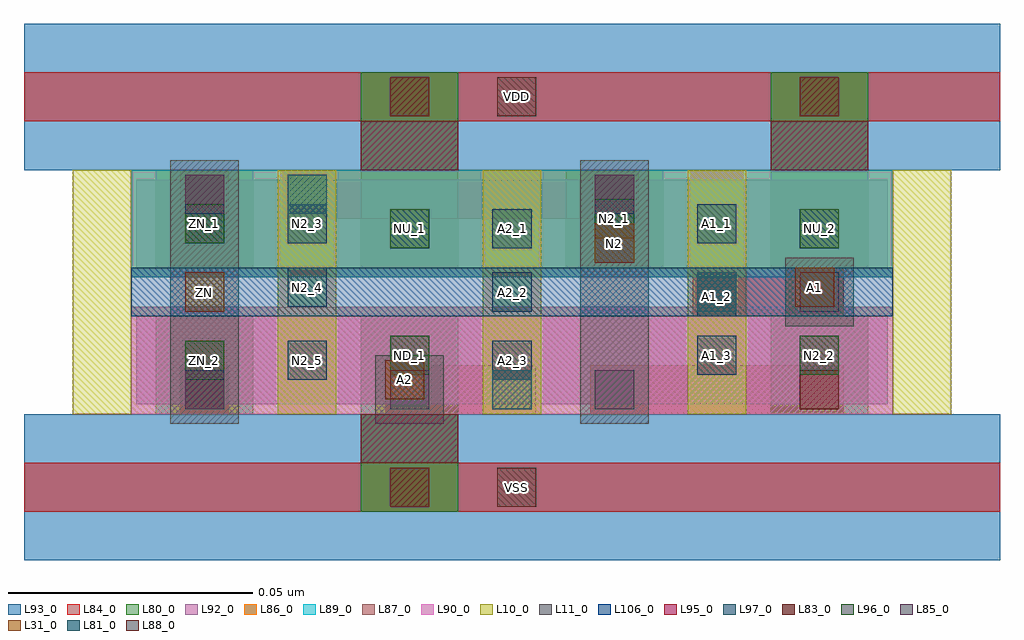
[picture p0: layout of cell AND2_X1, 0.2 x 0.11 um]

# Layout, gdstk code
import gdstk
lib = gdstk.Library(unit=1e-6, precision=1e-09)
def R(c, l, rs):  # rectangles x0, y0, x1, y1
    for r in rs: c.add(gdstk.rectangle(r[:2], r[2:], *l))
def A(c, l, x, y, w, h, nx, ny, dx, dy):  # array of equal rectangles
    R(c, l, [(x+i*dx, y+j*dy, x+i*dx+w, y+j*dy+h) for i in range(nx) for j in range(ny)])
L10_0 = (10, 0)
L11_0 = (11, 0)
L31_0 = (31, 0)
L80_0 = (80, 0)
L81_0 = (81, 0)
L83_0 = (83, 0)
L84_0 = (84, 0)
L85_0 = (85, 0)
L86_0 = (86, 0)
L87_0 = (87, 0)
L88_0 = (88, 0)
L89_0 = (89, 0)
L90_0 = (90, 0)
L92_0 = (92, 0)
L93_0 = (93, 0)
L95_0 = (95, 0)
L96_0 = (96, 0)
L97_0 = (97, 0)
L106_0 = (106, 0)

and2_x1 = lib.new_cell('AND2_X1')
A(and2_x1, L10_0, -0.027, 0.015, 0.012, 0.05, 5, 1, 0.042, 0)
R(and2_x1, L11_0, [(-0.007,0.013,0.007,0.047), (0.035,0.013,0.049,0.027), (0.077,0.013,0.091,0.047), (-0.007,0.033,0.007,0.067), (0.077,0.033,0.091,0.067), (0.119,0.033,0.133,0.047)])
R(and2_x1, L31_0, [(0.037,0.018,0.045,0.026), (-0.004,0.036,0.004,0.044), (0.121,0.037,0.129,0.045), (0.08,0.046,0.088,0.054)])
R(and2_x1, L80_0, [(0.032,-0.005,0.052,0.016), (-0.01,0.015,0.01,0.035), (0.032,0.015,0.052,0.035), (0.116,0.015,0.136,0.035), (-0.01,0.045,0.01,0.065), (-0.01,0.045,0.01,0.065), (0.032,0.045,0.052,0.065), (0.032,0.045,0.052,0.065), (0.074,0.045,0.094,0.065), (0.074,0.045,0.094,0.065), (0.116,0.045,0.136,0.065), (0.116,0.045,0.136,0.065), (0.032,0.056,0.052,0.085), (0.116,0.056,0.136,0.085)])
R(and2_x1, L81_0, [(0.059,0.016,0.067,0.024), (0.101,0.036,0.109,0.044), (0.017,0.056,0.025,0.064)])
R(and2_x1, L83_0, [(0.038,-0.004,0.046,0.004), (-0.004,0.016,0.004,0.024), (0.122,0.016,0.13,0.024), (-0.004,0.056,0.004,0.064), (-0.004,0.056,0.004,0.064), (0.08,0.056,0.088,0.064), (0.038,0.076,0.046,0.084), (0.122,0.076,0.13,0.084)])
A(and2_x1, L84_0, 0.016, 0.055, 0.031, 0.01, 3, 1, 0.021, 0)
R(and2_x1, L84_0, [(-0.037,-0.005,0.163,0.005), (-0.005,0.015,0.005,0.025), (0.037,0.015,0.068,0.025), (0.079,0.015,0.11,0.025), (0.1,0.015,0.131,0.025), (0.1,0.035,0.131,0.045), (-0.005,0.055,0.005,0.065), (-0.037,0.075,0.163,0.085)])
A(and2_x1, L85_0, -0.004, 0.016, 0.008, 0.008, 3, 1, 0.042, 0)
R(and2_x1, L85_0, [(0.122,0.036,0.13,0.044), (-0.004,0.056,0.004,0.064), (0.08,0.056,0.088,0.064)])
R(and2_x1, L86_0, [(-0.015,0.043,0.141,0.065)])
R(and2_x1, L87_0, [(-0.015,0.015,0.141,0.037)])
R(and2_x1, L88_0, [(0.06,-0.004,0.068,0.004), (0.06,0.076,0.068,0.084)])
R(and2_x1, L89_0, [(-0.015,0.043,0.141,0.065)])
R(and2_x1, L90_0, [(-0.015,0.015,0.141,0.037)])
R(and2_x1, L92_0, [(-0.014,0.017,0.14,0.035), (-0.014,0.045,0.14,0.063)])
R(and2_x1, L93_0, [(-0.037,-0.015,0.163,0.015), (-0.037,0.065,0.163,0.095)])
R(and2_x1, L95_0, [(0.032,0.005,0.052,0.015), (0.032,0.065,0.052,0.075), (0.116,0.065,0.136,0.075)])
R(and2_x1, L96_0, [(-0.004,0.022,0.004,0.03), (0.038,0.023,0.046,0.031), (0.122,0.023,0.13,0.031), (0.038,0.049,0.046,0.057), (0.122,0.049,0.13,0.057), (-0.004,0.05,0.004,0.058), (0.08,0.051,0.088,0.059)])
R(and2_x1, L97_0, [(0.017,0.022,0.025,0.03), (0.059,0.022,0.067,0.03), (0.101,0.023,0.109,0.031), (0.101,0.035,0.109,0.043), (0.059,0.036,0.067,0.044), (0.017,0.037,0.025,0.045), (0.059,0.049,0.067,0.057), (0.017,0.05,0.025,0.058), (0.101,0.05,0.109,0.058)])
R(and2_x1, L106_0, [(-0.015,0.035,0.141,0.045)])
and2_x1.add(gdstk.Label('VSS', (0.064,0), layer=88, texttype=0))
and2_x1.add(gdstk.Label('VDD', (0.064,0.08), layer=88, texttype=0))
and2_x1.add(gdstk.Label('A1_2', (0.105,0.039), layer=97, texttype=0))
and2_x1.add(gdstk.Label('A1_1', (0.105,0.054), layer=97, texttype=0))
and2_x1.add(gdstk.Label('A1_3', (0.105,0.027), layer=97, texttype=0))
and2_x1.add(gdstk.Label('A2_3', (0.063,0.026), layer=97, texttype=0))
and2_x1.add(gdstk.Label('A2_1', (0.063,0.053), layer=97, texttype=0))
and2_x1.add(gdstk.Label('A2_2', (0.063,0.04), layer=97, texttype=0))
and2_x1.add(gdstk.Label('N2_5', (0.021,0.026), layer=97, texttype=0))
and2_x1.add(gdstk.Label('N2_4', (0.021,0.041), layer=97, texttype=0))
and2_x1.add(gdstk.Label('N2_3', (0.021,0.054), layer=97, texttype=0))
and2_x1.add(gdstk.Label('A1', (0.125,0.041), layer=31, texttype=0))
and2_x1.add(gdstk.Label('N2', (0.084,0.05), layer=31, texttype=0))
and2_x1.add(gdstk.Label('A2', (0.041,0.022), layer=31, texttype=0))
and2_x1.add(gdstk.Label('ZN', (0,0.04), layer=31, texttype=0))
and2_x1.add(gdstk.Label('N2_2', (0.126,0.027), layer=96, texttype=0))
and2_x1.add(gdstk.Label('N2_1', (0.084,0.055), layer=96, texttype=0))
and2_x1.add(gdstk.Label('ND_1', (0.042,0.027), layer=96, texttype=0))
and2_x1.add(gdstk.Label('NU_2', (0.126,0.053), layer=96, texttype=0))
and2_x1.add(gdstk.Label('NU_1', (0.042,0.053), layer=96, texttype=0))
and2_x1.add(gdstk.Label('ZN_2', (0,0.026), layer=96, texttype=0))
and2_x1.add(gdstk.Label('ZN_1', (0,0.054), layer=96, texttype=0))

lib.write_gds('AND2_X1.gds')
